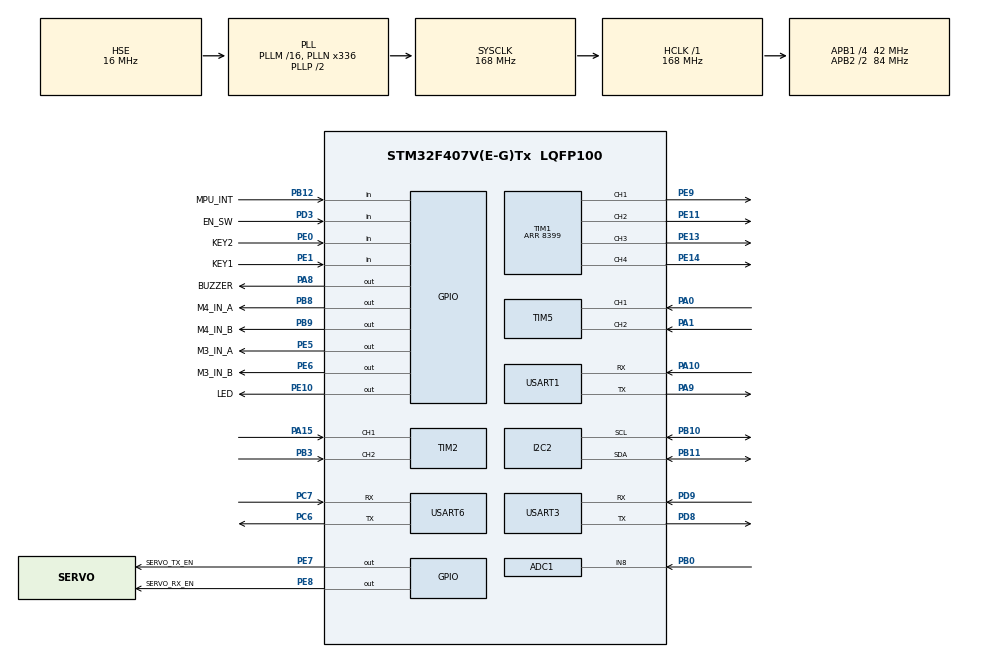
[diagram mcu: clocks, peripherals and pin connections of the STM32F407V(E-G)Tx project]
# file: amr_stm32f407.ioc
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ADC1.Channel-0\#ChannelRegularConversion=ADC_CHANNEL_8
ADC1.NbrOfConversionFlag=1
ADC1.Rank-0\#ChannelRegularConversion=1
ADC1.SamplingTime-0\#ChannelRegularConversion=ADC_SAMPLETIME_480CYCLES
ADC1.master=1
Mcu.Family=STM32F4
Mcu.Name=STM32F407V(E-G)Tx
Mcu.Package=LQFP100
NVIC.PriorityGroup=NVIC_PRIORITYGROUP_4
NVIC.USART3_IRQn=true\:0\:0\:false\:false\:true\:true\:true\:true
NVIC.USART6_IRQn=true\:0\:0\:false\:false\:true\:true\:true\:true
PA0-WKUP.Signal=S_TIM5_CH1
PA1.Signal=S_TIM5_CH2
PA10.Mode=Asynchronous
PA10.Signal=USART1_RX
PA13.Mode=Serial_Wire
PA13.Signal=SYS_JTMS-SWDIO
PA14.Mode=Serial_Wire
PA14.Signal=SYS_JTCK-SWCLK
PA15.Signal=S_TIM2_CH1_ETR
PA8.GPIO_Label=BUZZER
PA8.PinState=GPIO_PIN_RESET
PA8.Signal=GPIO_Output
PA9.Mode=Asynchronous
PA9.Signal=USART1_TX
PB0.Signal=ADCx_IN8
PB10.Mode=I2C
PB10.Signal=I2C2_SCL
PB11.Mode=I2C
PB11.Signal=I2C2_SDA
PB12.GPIO_Label=MPU_INT
PB12.Signal=GPIO_Input
PB3.Signal=S_TIM2_CH2
PB8.GPIO_Label=M4_IN_A
PB8.PinState=GPIO_PIN_RESET
PB8.Signal=GPIO_Output
PB9.GPIO_Label=M4_IN_B
PB9.PinState=GPIO_PIN_RESET
PB9.Signal=GPIO_Output
PC6.Mode=Asynchronous
PC6.Signal=USART6_TX
PC7.Mode=Asynchronous
PC7.Signal=USART6_RX
PD3.GPIO_Label=EN_SW
PD3.Signal=GPIO_Input
PD8.Mode=Asynchronous
PD8.Signal=USART3_TX
PD9.Mode=Asynchronous
PD9.Signal=USART3_RX
PE0.GPIO_Label=KEY2
PE0.Signal=GPIO_Input
PE1.GPIO_Label=KEY1
PE1.Signal=GPIO_Input
PE10.GPIO_Label=LED
PE10.PinState=GPIO_PIN_SET
PE10.Signal=GPIO_Output
PE11.Signal=S_TIM1_CH2
PE13.Signal=S_TIM1_CH3
PE14.Signal=S_TIM1_CH4
PE5.GPIO_Label=M3_IN_A
PE5.PinState=GPIO_PIN_RESET
PE5.Signal=GPIO_Output
PE6.GPIO_Label=M3_IN_B
PE6.PinState=GPIO_PIN_RESET
PE6.Signal=GPIO_Output
PE7.GPIO_Label=SERVO_TX_EN
PE7.PinState=GPIO_PIN_SET
PE7.Signal=GPIO_Output
PE8.GPIO_Label=SERVO_RX_EN
PE8.PinState=GPIO_PIN_SET
PE8.Signal=GPIO_Output
PE9.Signal=S_TIM1_CH1
PH0-OSC_IN.Mode=HSE-External-Oscillator
PH0-OSC_IN.Signal=RCC_OSC_IN
PH1-OSC_OUT.Mode=HSE-External-Oscillator
PH1-OSC_OUT.Signal=RCC_OSC_OUT
ProjectManager.HeapSize=0x200
ProjectManager.StackSize=0x400
ProjectManager.TargetToolchain=STM32CubeIDE
RCC.AHBFreq_Value=168000000
RCC.APB1CLKDivider=RCC_HCLK_DIV4
RCC.APB1Freq_Value=42000000
RCC.APB1TimFreq_Value=84000000
RCC.APB2CLKDivider=RCC_HCLK_DIV2
RCC.APB2Freq_Value=84000000
RCC.APB2TimFreq_Value=168000000
RCC.CortexFreq_Value=168000000
RCC.HCLKFreq_Value=168000000
RCC.HSE_VALUE=16000000
RCC.HSI_VALUE=16000000
RCC.LSE_VALUE=32768
RCC.PLLM=16
RCC.PLLN=336
RCC.PLLQ=7
RCC.PLLSourceVirtual=RCC_PLLSOURCE_HSE
RCC.SYSCLKFreq_VALUE=168000000
RCC.SYSCLKSource=RCC_SYSCLKSOURCE_PLLCLK
RCC.VCOOutputFreq_Value=336000000
SH.ADCx_IN8.0=ADC1_IN8,IN8
SH.S_TIM1_CH1.0=TIM1_CH1,PWM Generation1 CH1
SH.S_TIM1_CH2.0=TIM1_CH2,PWM Generation2 CH2
SH.S_TIM1_CH3.0=TIM1_CH3,PWM Generation3 CH3
SH.S_TIM1_CH4.0=TIM1_CH4,PWM Generation4 CH4
SH.S_TIM2_CH1_ETR.0=TIM2_CH1,Encoder_Interface
SH.S_TIM2_CH2.0=TIM2_CH2,Encoder_Interface
SH.S_TIM5_CH1.0=TIM5_CH1,Encoder_Interface
SH.S_TIM5_CH2.0=TIM5_CH2,Encoder_Interface
TIM1.Channel-PWM\ Generation1\ CH1=TIM_CHANNEL_1
TIM1.Channel-PWM\ Generation2\ CH2=TIM_CHANNEL_2
TIM1.Channel-PWM\ Generation3\ CH3=TIM_CHANNEL_3
TIM1.Channel-PWM\ Generation4\ CH4=TIM_CHANNEL_4
TIM1.Period=8399
TIM2.EncoderMode=TIM_ENCODERMODE_TI12
TIM5.EncoderMode=TIM_ENCODERMODE_TI12
USART1.VirtualMode=VM_ASYNC
USART3.VirtualMode=VM_ASYNC
USART6.VirtualMode=VM_ASYNC
VP_TIM1_VS_ClockSourceINT.Mode=Internal
board=custom

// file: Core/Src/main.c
/* USER CODE BEGIN Header */
/**
  ******************************************************************************
  * @file           : main.c
  * @brief          : Main program body
  ******************************************************************************
  * @attention
  *
  * Copyright (c) 2026 STMicroelectronics.
  * All rights reserved.
  *
  * This software is licensed under terms that can be found in the LICENSE file
  * in the root directory of this software component.
  * If no LICENSE file comes with this software, it is provided AS-IS.
  *
  ******************************************************************************
  */
/* USER CODE END Header */
#include "main.h"

/* USER CODE BEGIN Includes */
#include <stdio.h>          /* snprintf cho debug output */
#include "motor_driver.h"
#include "servo_buslinker.h"
#include "jetson_comm.h"
#include "ackermann.h"
#include "dwt_log.h"        /* Đo timing bằng DWT CYCCNT (168 MHz -> ~5.95 ns/tick) */
#include "bringup.h"        /* Chế độ kiểm tra board lần đầu (giữ K1 khi reset) */
/* USER CODE END Includes */

ADC_HandleTypeDef hadc1;

I2C_HandleTypeDef hi2c2;

TIM_HandleTypeDef htim1;
TIM_HandleTypeDef htim2;
TIM_HandleTypeDef htim5;

UART_HandleTypeDef huart1;
UART_HandleTypeDef huart3;
UART_HandleTypeDef huart6;

/* USER CODE BEGIN PV */
static uint32_t last_odom_ms = 0;     /* Mốc thời gian gửi odom gần nhất */
static float    current_steer = 0.0f; /* Lệnh servo hiện tại (độ) để gửi lên Jetson */

/* ===== Watchdog lệnh $VEL từ Jetson (AN TOÀN — bắt buộc, xem giải thích ở
 * vòng lặp chính bên dưới). Nếu Jetson ngừng gửi lệnh (crash, kill node, rút
 * cáp), STM32 phải tự dừng motor, không thể trông chờ Jetson luôn gửi
 * lệnh đều đặn. ===== */
#define VEL_WATCHDOG_TIMEOUT_MS   300U  /* CẦN TUNE thực nghiệm: đủ ngắn để an
                                          * toàn, đủ dài để không dừng nhầm do
                                          * jitter mạng/CPU phía Jetson */
static uint32_t last_vel_rx_ms       = 0; /* Mốc thời gian nhận $VEL hợp lệ gần nhất */
static uint8_t  vel_watchdog_tripped = 0; /* Tránh gọi SetSpeed(0,0) lặp lại mỗi vòng lặp */

/* ===== Công tắc enable trên board (cổng số 1, SW3 -> PD3, kéo lên 10k) =====
 * Chỉ là đầu vào GPIO, KHÔNG cắt nguồn motor bằng phần cứng -> firmware phải
 * tự đọc. ⚠️ CHƯA xác minh gạt về phía nào thì PD3 = 0 -> TẮT tính năng này
 * (EN_SW_USE = 0) cho tới khi bring-up đo xong 2 vị trí công tắc. */
#define EN_SW_USE          0
#define EN_SW_RUN_LEVEL    GPIO_PIN_RESET   /* Mức PD3 ứng với "cho phép chạy" — CẦN XÁC MINH */

/* [ĐO] Số lần đã đo overhead ghi log (tối đa DWT_OVH_SAMPLES, xem dwt_log.h) */
static uint32_t dwt_ovh_done = 0;
/* USER CODE END PV */

void SystemClock_Config(void);
static void MX_GPIO_Init(void);
static void MX_ADC1_Init(void);
static void MX_I2C2_Init(void);
static void MX_TIM1_Init(void);
static void MX_TIM2_Init(void);
static void MX_TIM5_Init(void);
static void MX_USART1_UART_Init(void);
static void MX_USART3_UART_Init(void);
static void MX_USART6_UART_Init(void);
/* USER CODE BEGIN PFP */
static void on_cmd_vel(float linear, float angular);
/* USER CODE END PFP */

int main(void)
{

  /* MCU Configuration--------------------------------------------------------*/

  /* Reset of all peripherals, Initializes the Flash interface and the Systick. */
  HAL_Init();

  /* Configure the system clock */
  SystemClock_Config();

  /* USER CODE BEGIN SysInit */
  DWT_Init();   /* [ĐO] Bật DWT CYCCNT. Chỉ đếm, chưa ghi log. */
  /* USER CODE END SysInit */

  /* Initialize all configured peripherals */
  MX_GPIO_Init();
  MX_ADC1_Init();
  MX_I2C2_Init();
  MX_TIM1_Init();
  MX_TIM2_Init();
  MX_TIM5_Init();
  MX_USART1_UART_Init();
  MX_USART3_UART_Init();
  MX_USART6_UART_Init();
  /* USER CODE BEGIN 2 */
  HAL_Delay(500);            // Chờ các module ổn định nguồn
  DRV_Motor_Init();          // PWM duty = 0 + bật encoder

  /* Giữ K1 (PE1) khi reset -> vào chế độ BRING-UP (không trả về). Đặt TRƯỚC
   * DRV_Servo_Init để servo không tự quay, và TRƯỚC APP_Comm_Init để USART3
   * chỉ dùng cho bring-up. Xem bringup.h. */
  if (BRINGUP_Requested()) {
      BRINGUP_Run();
  }
  DRV_Servo_Init();          // Servo về vị trí giữa (lái thẳng)
  APP_Comm_Init(on_cmd_vel); // Bật USART3 nhận lệnh "$VEL" từ Jetson

  /* Báo hiệu đã khởi động xong: LED sáng (PE10 tích cực THẤP) + bíp ngắn
   * (PA8 tích cực CAO). Giúp nhận biết firmware chạy khi bring-up. */
  HAL_GPIO_WritePin(LED_GPIO_Port, LED_Pin, GPIO_PIN_RESET);
  HAL_GPIO_WritePin(BUZZER_GPIO_Port, BUZZER_Pin, GPIO_PIN_SET);
  HAL_Delay(80);
  HAL_GPIO_WritePin(BUZZER_GPIO_Port, BUZZER_Pin, GPIO_PIN_RESET);
  /* USER CODE END 2 */

  /* Infinite loop */
  while (1)
  {

    /* USER CODE BEGIN 3 */
	  /* ---- Gửi odometry lên Jetson định kỳ mỗi 10ms (100 Hz) ---- */
	  uint32_t now = HAL_GetTick();
	  if (now - last_odom_ms >= 10U) {
		  last_odom_ms = now;

		  /* Đọc encoder 2 bánh */
		  int32_t enc_l = 0, enc_r = 0;
		  DRV_Motor_GetEncoder(&enc_l, &enc_r);

		  /* [ĐO] EV_ODO bao trọn snprintf + gửi polling, len = số byte thật */
		  uint32_t dwt_t0 = DWT_Now();
		  int odo_len = APP_Comm_SendOdom(enc_l, enc_r, current_steer);
		  DWT_Log(EV_ODO, dwt_t0, DWT_Now(), (uint16_t)odo_len);

		  /* [ĐO] Đo chi phí của chính việc ghi log, chỉ DWT_OVH_SAMPLES lần đầu
		   * phiên đo. EV_LOG_OVH bao trọn đúng 1 lần ghi bản ghi rỗng EV_DUMMY
		   * -> thời lượng của nó = chi phí 1 lần DWT_Log() + 1 lần DWT_Now(). */
		  if (log_active == DWT_LOG_RUN && dwt_ovh_done < DWT_OVH_SAMPLES) {
			  dwt_ovh_done++;
			  uint32_t dwt_ta = DWT_Now();
			  DWT_Log(EV_DUMMY, dwt_ta, dwt_ta, 0u);
			  DWT_Log(EV_LOG_OVH, dwt_ta, DWT_Now(), 0u);
		  }
	  }

	  /* ---- Vòng PID tốc độ 2 bánh (closed-loop, xem motor_driver.c/motor_pid.h).
	   * Tự throttle bên trong theo chu kỳ riêng, gọi mỗi vòng lặp không tốn gì
	   * khi chưa tới lúc. ---- */
	  DRV_Motor_UpdatePID();

	  /* ---- Xử lý lệnh "$VEL" nhận từ Jetson (gọi on_cmd_vel khi đủ frame) ---- */
	  APP_Comm_Parse();

	  /* [ĐO] Bắt đầu ghi log khi nhận $VEL hợp lệ ĐẦU TIÊN */
	  if (log_active == DWT_LOG_IDLE && last_vel_rx_ms != 0U) {
		  DWT_LogStart();
	  }

#if EN_SW_USE
	  /* ---- Công tắc enable: nằm NGOÀI vòng PID, không phụ thuộc cảm biến
	   * (cùng nguyên tắc nhánh target=0). Đặt SAU APP_Comm_Parse để đè lên
	   * lệnh vừa nhận -> chu kỳ PID kế tiếp thấy target=0. ---- */
	  if (HAL_GPIO_ReadPin(EN_SW_GPIO_Port, EN_SW_Pin) != EN_SW_RUN_LEVEL) {
		  DRV_Motor_SetSpeed(0, 0);
	  }
#endif

	  /* ---- AN TOÀN: watchdog $VEL.
	   * ⚠️ BẮT BUỘC đọc lại HAL_GetTick() Ở ĐÂY, KHÔNG dùng biến 'now' chụp từ
	   * đầu vòng lặp (bug đã sửa 2026-09-05): APP_Comm_Parse() ở trên đặt
	   * last_vel_rx_ms = HAL_GetTick() tại thời điểm MỚI HƠN 'now' (do
	   * APP_Comm_SendOdom blocking ~2-3ms xen giữa). Khi last_vel_rx_ms > now,
	   * phép trừ unsigned TRÀN XUỐNG ~4.29 tỷ > 300 -> watchdog trip OAN ngay
	   * sau mỗi lệnh $VEL hợp lệ, cắt động cơ liên tục. ---- */
	  uint32_t now_wd = HAL_GetTick();
	  if (last_vel_rx_ms != 0U && !vel_watchdog_tripped &&
	      (now_wd - last_vel_rx_ms) > VEL_WATCHDOG_TIMEOUT_MS) {
		  DRV_Motor_SetSpeed(0, 0);
		  vel_watchdog_tripped = 1U;
		  /* [ĐO] Script ngừng gửi $VEL -> kết thúc phiên đo, log_buf đứng yên. */
		  DWT_LogStop();
	  }
  }
  /* USER CODE END 3 */
}

void SystemClock_Config(void)
{
  RCC_OscInitTypeDef RCC_OscInitStruct = {0};
  RCC_ClkInitTypeDef RCC_ClkInitStruct = {0};

  /** Configure the main internal regulator output voltage
  */
  __HAL_RCC_PWR_CLK_ENABLE();
  __HAL_PWR_VOLTAGESCALING_CONFIG(PWR_REGULATOR_VOLTAGE_SCALE1);

  /** Initializes the RCC Oscillators according to the specified parameters
  * in the RCC_OscInitTypeDef structure.
  */
  RCC_OscInitStruct.OscillatorType = RCC_OSCILLATORTYPE_HSE;
  RCC_OscInitStruct.HSEState = RCC_HSE_ON;
  RCC_OscInitStruct.PLL.PLLState = RCC_PLL_ON;
  RCC_OscInitStruct.PLL.PLLSource = RCC_PLLSOURCE_HSE;
  RCC_OscInitStruct.PLL.PLLM = 16;
  RCC_OscInitStruct.PLL.PLLN = 336;
  RCC_OscInitStruct.PLL.PLLP = RCC_PLLP_DIV2;
  RCC_OscInitStruct.PLL.PLLQ = 7;
  if (HAL_RCC_OscConfig(&RCC_OscInitStruct) != HAL_OK)
  {
    Error_Handler();
  }

  /** Initializes the CPU, AHB and APB buses clocks
  */
  RCC_ClkInitStruct.ClockType = RCC_CLOCKTYPE_HCLK|RCC_CLOCKTYPE_SYSCLK
                              |RCC_CLOCKTYPE_PCLK1|RCC_CLOCKTYPE_PCLK2;
  RCC_ClkInitStruct.SYSCLKSource = RCC_SYSCLKSOURCE_PLLCLK;
  RCC_ClkInitStruct.AHBCLKDivider = RCC_SYSCLK_DIV1;
  RCC_ClkInitStruct.APB1CLKDivider = RCC_HCLK_DIV4;
  RCC_ClkInitStruct.APB2CLKDivider = RCC_HCLK_DIV2;

  if (HAL_RCC_ClockConfig(&RCC_ClkInitStruct, FLASH_LATENCY_5) != HAL_OK)
  {
    Error_Handler();
  }
}

static void MX_ADC1_Init(void)
{

  ADC_ChannelConfTypeDef sConfig = {0};

  /** Configure the global features of the ADC (Clock, Resolution, Data Alignment and number of conversion)
  */
  hadc1.Instance = ADC1;
  hadc1.Init.ClockPrescaler = ADC_CLOCK_SYNC_PCLK_DIV4;
  hadc1.Init.Resolution = ADC_RESOLUTION_12B;
  hadc1.Init.ScanConvMode = DISABLE;
  hadc1.Init.ContinuousConvMode = DISABLE;
  hadc1.Init.DiscontinuousConvMode = DISABLE;
  hadc1.Init.ExternalTrigConvEdge = ADC_EXTERNALTRIGCONVEDGE_NONE;
  hadc1.Init.ExternalTrigConv = ADC_SOFTWARE_START;
  hadc1.Init.DataAlign = ADC_DATAALIGN_RIGHT;
  hadc1.Init.NbrOfConversion = 1;
  hadc1.Init.DMAContinuousRequests = DISABLE;
  hadc1.Init.EOCSelection = ADC_EOC_SINGLE_CONV;
  if (HAL_ADC_Init(&hadc1) != HAL_OK)
  {
    Error_Handler();
  }

  /** Configure for the selected ADC regular channel its corresponding rank in the sequencer and its sample time.
  */
  sConfig.Channel = ADC_CHANNEL_8;
  sConfig.Rank = 1;
  sConfig.SamplingTime = ADC_SAMPLETIME_480CYCLES;
  if (HAL_ADC_ConfigChannel(&hadc1, &sConfig) != HAL_OK)
  {
    Error_Handler();
  }

}

static void MX_I2C2_Init(void)
{

  hi2c2.Instance = I2C2;
  hi2c2.Init.ClockSpeed = 100000;
  hi2c2.Init.DutyCycle = I2C_DUTYCYCLE_2;
  hi2c2.Init.OwnAddress1 = 0;
  hi2c2.Init.AddressingMode = I2C_ADDRESSINGMODE_7BIT;
  hi2c2.Init.DualAddressMode = I2C_DUALADDRESS_DISABLE;
  hi2c2.Init.OwnAddress2 = 0;
  hi2c2.Init.GeneralCallMode = I2C_GENERALCALL_DISABLE;
  hi2c2.Init.NoStretchMode = I2C_NOSTRETCH_DISABLE;
  if (HAL_I2C_Init(&hi2c2) != HAL_OK)
  {
    Error_Handler();
  }

}

static void MX_TIM1_Init(void)
{

  TIM_ClockConfigTypeDef sClockSourceConfig = {0};
  TIM_MasterConfigTypeDef sMasterConfig = {0};
  TIM_OC_InitTypeDef sConfigOC = {0};
  TIM_BreakDeadTimeConfigTypeDef sBreakDeadTimeConfig = {0};

  htim1.Instance = TIM1;
  htim1.Init.Prescaler = 0;
  htim1.Init.CounterMode = TIM_COUNTERMODE_UP;
  htim1.Init.Period = 8399;
  htim1.Init.ClockDivision = TIM_CLOCKDIVISION_DIV1;
  htim1.Init.RepetitionCounter = 0;
  htim1.Init.AutoReloadPreload = TIM_AUTORELOAD_PRELOAD_DISABLE;
  if (HAL_TIM_Base_Init(&htim1) != HAL_OK)
  {
    Error_Handler();
  }
  sClockSourceConfig.ClockSource = TIM_CLOCKSOURCE_INTERNAL;
  if (HAL_TIM_ConfigClockSource(&htim1, &sClockSourceConfig) != HAL_OK)
  {
    Error_Handler();
  }
  if (HAL_TIM_PWM_Init(&htim1) != HAL_OK)
  {
    Error_Handler();
  }
  sMasterConfig.MasterOutputTrigger = TIM_TRGO_RESET;
  sMasterConfig.MasterSlaveMode = TIM_MASTERSLAVEMODE_DISABLE;
  if (HAL_TIMEx_MasterConfigSynchronization(&htim1, &sMasterConfig) != HAL_OK)
  {
    Error_Handler();
  }
  sConfigOC.OCMode = TIM_OCMODE_PWM1;
  sConfigOC.Pulse = 0;
  sConfigOC.OCPolarity = TIM_OCPOLARITY_HIGH;
  sConfigOC.OCNPolarity = TIM_OCNPOLARITY_HIGH;
  sConfigOC.OCFastMode = TIM_OCFAST_DISABLE;
  sConfigOC.OCIdleState = TIM_OCIDLESTATE_RESET;
  sConfigOC.OCNIdleState = TIM_OCNIDLESTATE_RESET;
  if (HAL_TIM_PWM_ConfigChannel(&htim1, &sConfigOC, TIM_CHANNEL_1) != HAL_OK)
  {
    Error_Handler();
  }
  if (HAL_TIM_PWM_ConfigChannel(&htim1, &sConfigOC, TIM_CHANNEL_2) != HAL_OK)
  {
    Error_Handler();
  }
  if (HAL_TIM_PWM_ConfigChannel(&htim1, &sConfigOC, TIM_CHANNEL_3) != HAL_OK)
  {
    Error_Handler();
  }
  if (HAL_TIM_PWM_ConfigChannel(&htim1, &sConfigOC, TIM_CHANNEL_4) != HAL_OK)
  {
    Error_Handler();
  }
  sBreakDeadTimeConfig.OffStateRunMode = TIM_OSSR_DISABLE;
  sBreakDeadTimeConfig.OffStateIDLEMode = TIM_OSSI_DISABLE;
  sBreakDeadTimeConfig.LockLevel = TIM_LOCKLEVEL_OFF;
  sBreakDeadTimeConfig.DeadTime = 0;
  sBreakDeadTimeConfig.BreakState = TIM_BREAK_DISABLE;
  sBreakDeadTimeConfig.BreakPolarity = TIM_BREAKPOLARITY_HIGH;
  sBreakDeadTimeConfig.AutomaticOutput = TIM_AUTOMATICOUTPUT_DISABLE;
  if (HAL_TIMEx_ConfigBreakDeadTime(&htim1, &sBreakDeadTimeConfig) != HAL_OK)
  {
    Error_Handler();
  }
  HAL_TIM_MspPostInit(&htim1);

}

static void MX_TIM2_Init(void)
{

  TIM_Encoder_InitTypeDef sConfig = {0};
  TIM_MasterConfigTypeDef sMasterConfig = {0};

  htim2.Instance = TIM2;
  htim2.Init.Prescaler = 0;
  htim2.Init.CounterMode = TIM_COUNTERMODE_UP;
  htim2.Init.Period = 4294967295;
  htim2.Init.ClockDivision = TIM_CLOCKDIVISION_DIV1;
  htim2.Init.AutoReloadPreload = TIM_AUTORELOAD_PRELOAD_DISABLE;
  sConfig.EncoderMode = TIM_ENCODERMODE_TI12;
  sConfig.IC1Polarity = TIM_ICPOLARITY_RISING;
  sConfig.IC1Selection = TIM_ICSELECTION_DIRECTTI;
  sConfig.IC1Prescaler = TIM_ICPSC_DIV1;
  sConfig.IC1Filter = 0;
  sConfig.IC2Polarity = TIM_ICPOLARITY_RISING;
  sConfig.IC2Selection = TIM_ICSELECTION_DIRECTTI;
  sConfig.IC2Prescaler = TIM_ICPSC_DIV1;
  sConfig.IC2Filter = 0;
  if (HAL_TIM_Encoder_Init(&htim2, &sConfig) != HAL_OK)
  {
    Error_Handler();
  }
  sMasterConfig.MasterOutputTrigger = TIM_TRGO_RESET;
  sMasterConfig.MasterSlaveMode = TIM_MASTERSLAVEMODE_DISABLE;
  if (HAL_TIMEx_MasterConfigSynchronization(&htim2, &sMasterConfig) != HAL_OK)
  {
    Error_Handler();
  }

}

static void MX_TIM5_Init(void)
{

  TIM_Encoder_InitTypeDef sConfig = {0};
  TIM_MasterConfigTypeDef sMasterConfig = {0};

  htim5.Instance = TIM5;
  htim5.Init.Prescaler = 0;
  htim5.Init.CounterMode = TIM_COUNTERMODE_UP;
  htim5.Init.Period = 4294967295;
  htim5.Init.ClockDivision = TIM_CLOCKDIVISION_DIV1;
  htim5.Init.AutoReloadPreload = TIM_AUTORELOAD_PRELOAD_DISABLE;
  sConfig.EncoderMode = TIM_ENCODERMODE_TI12;
  sConfig.IC1Polarity = TIM_ICPOLARITY_RISING;
  sConfig.IC1Selection = TIM_ICSELECTION_DIRECTTI;
  sConfig.IC1Prescaler = TIM_ICPSC_DIV1;
  sConfig.IC1Filter = 0;
  sConfig.IC2Polarity = TIM_ICPOLARITY_RISING;
  sConfig.IC2Selection = TIM_ICSELECTION_DIRECTTI;
  sConfig.IC2Prescaler = TIM_ICPSC_DIV1;
  sConfig.IC2Filter = 0;
  if (HAL_TIM_Encoder_Init(&htim5, &sConfig) != HAL_OK)
  {
    Error_Handler();
  }
  sMasterConfig.MasterOutputTrigger = TIM_TRGO_RESET;
  sMasterConfig.MasterSlaveMode = TIM_MASTERSLAVEMODE_DISABLE;
  if (HAL_TIMEx_MasterConfigSynchronization(&htim5, &sMasterConfig) != HAL_OK)
  {
    Error_Handler();
  }

}

static void MX_USART1_UART_Init(void)
{

  huart1.Instance = USART1;
  huart1.Init.BaudRate = 115200;
  huart1.Init.WordLength = UART_WORDLENGTH_8B;
  huart1.Init.StopBits = UART_STOPBITS_1;
  huart1.Init.Parity = UART_PARITY_NONE;
  huart1.Init.Mode = UART_MODE_TX_RX;
  huart1.Init.HwFlowCtl = UART_HWCONTROL_NONE;
  huart1.Init.OverSampling = UART_OVERSAMPLING_16;
  if (HAL_UART_Init(&huart1) != HAL_OK)
  {
    Error_Handler();
  }

}

static void MX_USART3_UART_Init(void)
{

  huart3.Instance = USART3;
  huart3.Init.BaudRate = 115200;
  huart3.Init.WordLength = UART_WORDLENGTH_8B;
  huart3.Init.StopBits = UART_STOPBITS_1;
  huart3.Init.Parity = UART_PARITY_NONE;
  huart3.Init.Mode = UART_MODE_TX_RX;
  huart3.Init.HwFlowCtl = UART_HWCONTROL_NONE;
  huart3.Init.OverSampling = UART_OVERSAMPLING_16;
  if (HAL_UART_Init(&huart3) != HAL_OK)
  {
    Error_Handler();
  }

}

static void MX_USART6_UART_Init(void)
{

  huart6.Instance = USART6;
  huart6.Init.BaudRate = 115200;
  huart6.Init.WordLength = UART_WORDLENGTH_8B;
  huart6.Init.StopBits = UART_STOPBITS_1;
  huart6.Init.Parity = UART_PARITY_NONE;
  huart6.Init.Mode = UART_MODE_TX_RX;
  huart6.Init.HwFlowCtl = UART_HWCONTROL_NONE;
  huart6.Init.OverSampling = UART_OVERSAMPLING_16;
  if (HAL_UART_Init(&huart6) != HAL_OK)
  {
    Error_Handler();
  }

}

static void MX_GPIO_Init(void)
{
  GPIO_InitTypeDef GPIO_InitStruct = {0};

  /* GPIO Ports Clock Enable */
  __HAL_RCC_GPIOE_CLK_ENABLE();
  __HAL_RCC_GPIOH_CLK_ENABLE();
  __HAL_RCC_GPIOA_CLK_ENABLE();
  __HAL_RCC_GPIOB_CLK_ENABLE();
  __HAL_RCC_GPIOD_CLK_ENABLE();
  __HAL_RCC_GPIOC_CLK_ENABLE();

  /*Configure GPIO pin Output Level */
  HAL_GPIO_WritePin(GPIOE, M3_IN_A_Pin|M3_IN_B_Pin, GPIO_PIN_RESET);

  /*Configure GPIO pin Output Level */
  HAL_GPIO_WritePin(GPIOE, SERVO_TX_EN_Pin|SERVO_RX_EN_Pin|LED_Pin, GPIO_PIN_SET);

  /*Configure GPIO pin Output Level */
  HAL_GPIO_WritePin(BUZZER_GPIO_Port, BUZZER_Pin, GPIO_PIN_RESET);

  /*Configure GPIO pin Output Level */
  HAL_GPIO_WritePin(GPIOB, M4_IN_A_Pin|M4_IN_B_Pin, GPIO_PIN_RESET);

  /*Configure GPIO pins : M3_IN_A_Pin M3_IN_B_Pin SERVO_TX_EN_Pin SERVO_RX_EN_Pin
                           LED_Pin */
  GPIO_InitStruct.Pin = M3_IN_A_Pin|M3_IN_B_Pin|SERVO_TX_EN_Pin|SERVO_RX_EN_Pin
                          |LED_Pin;
  GPIO_InitStruct.Mode = GPIO_MODE_OUTPUT_PP;
  GPIO_InitStruct.Pull = GPIO_NOPULL;
  GPIO_InitStruct.Speed = GPIO_SPEED_FREQ_LOW;
  HAL_GPIO_Init(GPIOE, &GPIO_InitStruct);

  /*Configure GPIO pin : MPU_INT_Pin */
  GPIO_InitStruct.Pin = MPU_INT_Pin;
  GPIO_InitStruct.Mode = GPIO_MODE_INPUT;
  GPIO_InitStruct.Pull = GPIO_NOPULL;
  HAL_GPIO_Init(MPU_INT_GPIO_Port, &GPIO_InitStruct);

  /*Configure GPIO pin : BUZZER_Pin */
  GPIO_InitStruct.Pin = BUZZER_Pin;
  GPIO_InitStruct.Mode = GPIO_MODE_OUTPUT_PP;
  GPIO_InitStruct.Pull = GPIO_NOPULL;
  GPIO_InitStruct.Speed = GPIO_SPEED_FREQ_LOW;
  HAL_GPIO_Init(BUZZER_GPIO_Port, &GPIO_InitStruct);

  /*Configure GPIO pin : EN_SW_Pin */
  GPIO_InitStruct.Pin = EN_SW_Pin;
  GPIO_InitStruct.Mode = GPIO_MODE_INPUT;
  GPIO_InitStruct.Pull = GPIO_NOPULL;
  HAL_GPIO_Init(EN_SW_GPIO_Port, &GPIO_InitStruct);

  /*Configure GPIO pins : M4_IN_A_Pin M4_IN_B_Pin */
  GPIO_InitStruct.Pin = M4_IN_A_Pin|M4_IN_B_Pin;
  GPIO_InitStruct.Mode = GPIO_MODE_OUTPUT_PP;
  GPIO_InitStruct.Pull = GPIO_NOPULL;
  GPIO_InitStruct.Speed = GPIO_SPEED_FREQ_LOW;
  HAL_GPIO_Init(GPIOB, &GPIO_InitStruct);

  /*Configure GPIO pins : KEY2_Pin KEY1_Pin */
  GPIO_InitStruct.Pin = KEY2_Pin|KEY1_Pin;
  GPIO_InitStruct.Mode = GPIO_MODE_INPUT;
  GPIO_InitStruct.Pull = GPIO_NOPULL;
  HAL_GPIO_Init(GPIOE, &GPIO_InitStruct);

}

/* USER CODE BEGIN 4 */
/**
 * @brief  Callback nhận lệnh cmd_vel từ Jetson qua USART3.
 *         Gọi tự động từ APP_Comm_Parse() khi parse đủ 1 lệnh "$VEL" hợp lệ.
 * @note   Quy đổi Twist -> Ackermann nằm trong CALC_Ackermann (ackermann.c).
 */
static void on_cmd_vel(float linear, float angular)
{
    int8_t spd_l, spd_r;
    /* Quy đổi cmd_vel -> tốc độ 2 bánh + góc lái; lưu góc lái để gửi odom */
    CALC_Ackermann(linear, angular, &spd_l, &spd_r, &current_steer);

    DRV_Motor_SetSpeed(spd_l, spd_r);
    DRV_Servo_SetAngle(current_steer);

    /* AN TOÀN: ghi nhận mốc thời gian nhận $VEL hợp lệ, reset cờ watchdog để
     * lần mất kết nối SAU vẫn phát hiện được. */
    last_vel_rx_ms       = HAL_GetTick();
    vel_watchdog_tripped = 0U;
}
/* USER CODE END 4 */

void Error_Handler(void)
{
  __disable_irq();
  while (1)
  {
  }
}
